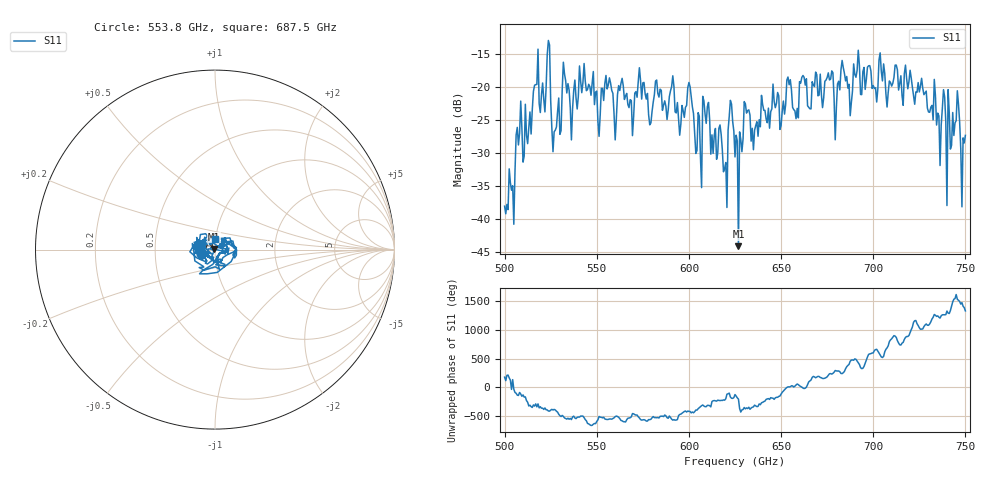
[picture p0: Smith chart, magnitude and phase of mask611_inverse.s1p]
!Created with skrf (http://scikit-rf.org).
# GHz S MA R 50.0
!freq magS11 angS11
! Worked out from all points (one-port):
!   401 points, 500 GHz to 750 GHz, reference 50 ohm
!   lowest |S11| = -44.1 dB at 626.9 GHz (marker M1), VSWR 1.01, Z = 49.4 + j0.282 ohm
!   |S11| at or under -10 dB: start of sweep to end of sweep
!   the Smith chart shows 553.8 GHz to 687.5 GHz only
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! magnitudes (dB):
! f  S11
! 500 GHz  -38.0
! 516.9 GHz  -19.6
! 520.6 GHz  -19.3
! 523.8 GHz  -12.9
! 526.9 GHz  -26.7
! 531.2 GHz  -20.4
! 560 GHz  -28.0
! 562.5 GHz  -20.5
! 579.4 GHz  -25.4
! 590.6 GHz  -19.9
! 593.8 GHz  -22.3
! 600.6 GHz  -19.9
! 605.6 GHz  -24.4
! 609.4 GHz  -25.5
! 619.4 GHz  -32.3
! 622.5 GHz  -22.0
! 625 GHz  -30.6
! 626.9 GHz  -44.1
! 631.2 GHz  -23.9
! 635 GHz  -29.5
! 656.2 GHz  -23.0
! 676.9 GHz  -18.8
! 680 GHz  -23.1
! 683.8 GHz  -17.0
! 687.5 GHz  -24.3
! 690.6 GHz  -18.5
! 718.8 GHz  -20.2
! 750 GHz  -27.3
